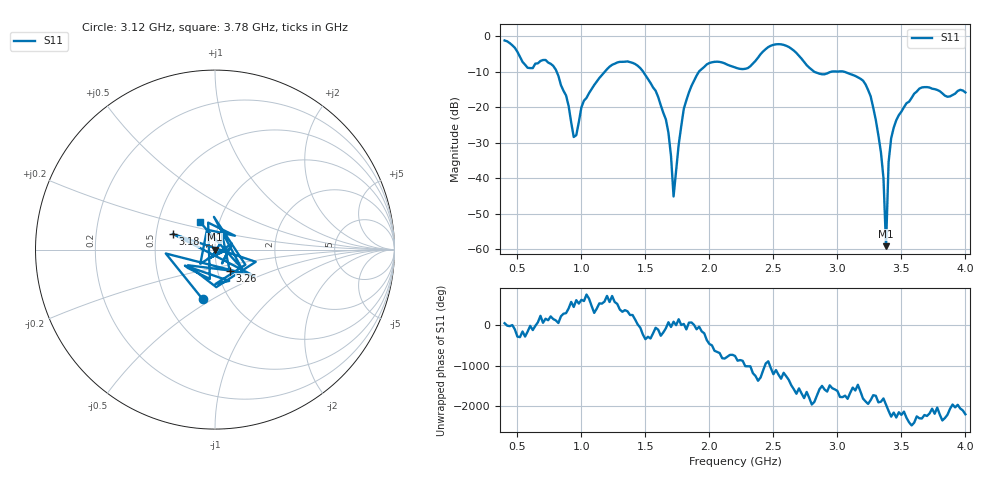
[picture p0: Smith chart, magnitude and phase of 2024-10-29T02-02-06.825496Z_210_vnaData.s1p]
!Created with skrf (http://scikit-rf.org).
# Hz S RI R 50.0
!freq ReS11 ImS11
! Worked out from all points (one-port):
!   181 points, 400 MHz to 4 GHz, reference 50 ohm
!   lowest |S11| = -59.1 dB at 3.38 GHz (marker M1), VSWR 1.00, Z = 49.9 - j0.0204 ohm
!   |S11| at or under -10 dB: 806.5 MHz to 1.184 GHz (377.4 MHz wide, 37.9 % of centre); 1.482 GHz to 1.918 GHz (435.9 MHz wide, 25.6 % of centre); 3.05 GHz to end of sweep (the widest 3 of 4)
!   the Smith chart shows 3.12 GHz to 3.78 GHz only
!   S11 on the Smith chart (normalised r, x): 3.12 GHz: 0.75, -0.45; 3.18 GHz: 0.61, +0.11; 3.26 GHz: 1.14, -0.27; 3.78 GHz: 0.81, +0.26
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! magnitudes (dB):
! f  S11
! 400 MHz  -1.2
! 580 MHz  -8.9
! 780 MHz  -8.4
! 860 MHz  -15.4
! 940 MHz  -28.4
! 1.02 GHz  -18.1
! 1.3 GHz  -7.2
! 1.6 GHz  -17.1
! 1.68 GHz  -27.2
! 1.72 GHz  -45.1
! 1.76 GHz  -30.6
! 1.8 GHz  -20.4
! 1.92 GHz  -9.9
! 2.2 GHz  -8.8
! 2.66 GHz  -4.1
! 2.82 GHz  -10.1
! 3.1 GHz  -10.7
! 3.12 GHz  -10.9
! 3.18 GHz  -12.0
! 3.26 GHz  -16.9
! 3.34 GHz  -32.6
! 3.36 GHz  -39.9
! 3.38 GHz  -59.1
! 3.4 GHz  -35.5
! 3.42 GHz  -28.7
! 3.56 GHz  -18.4
! 3.78 GHz  -15.1
! 4 GHz  -15.8
